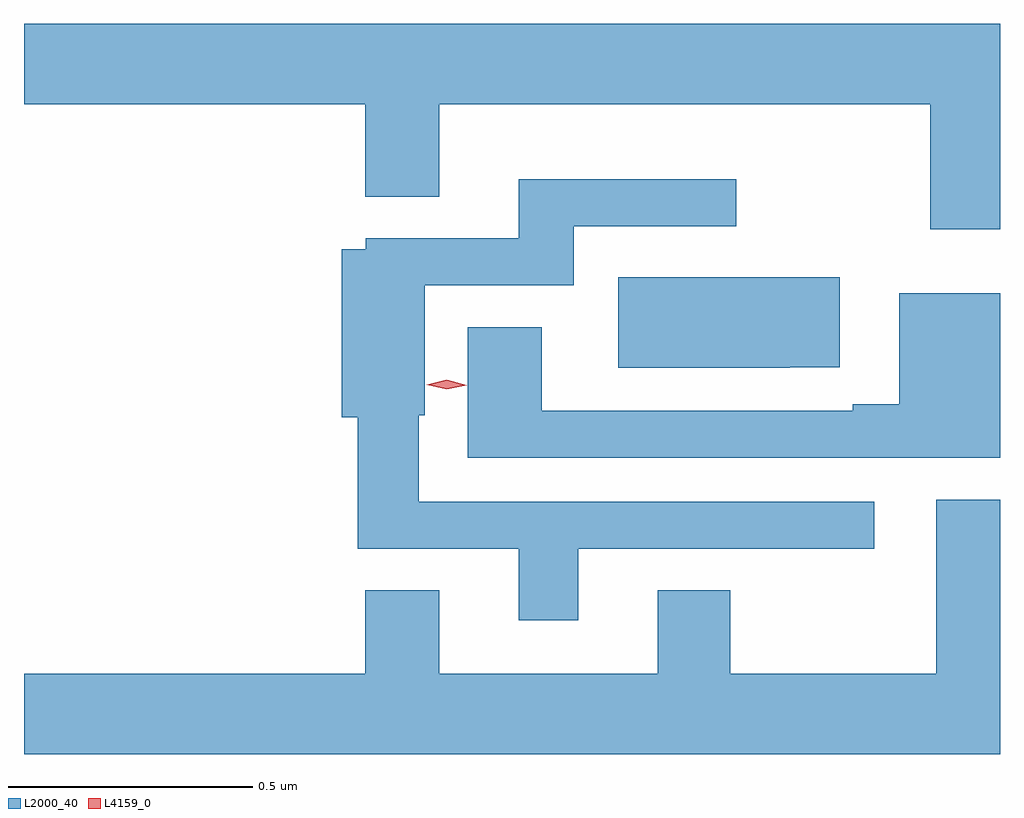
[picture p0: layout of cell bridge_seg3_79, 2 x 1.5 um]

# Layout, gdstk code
import gdstk
lib = gdstk.Library(unit=1e-6, precision=1e-09)
def P(c, l, *ps):  # polygons
    for p in ps: c.add(gdstk.Polygon(p, *l))
L2000_40 = (2000, 40)
L4159_0 = (4159, 0)

bridge_seg3_79 = lib.new_cell('bridge_seg3_79')
P(bridge_seg3_79, L2000_40, [(473.818,691.756),(471.818,691.756),(471.818,691.592),(472.517,691.592),(472.517,691.402),(472.669,691.402),(472.669,691.592),(473.675,691.592),(473.675,691.335),(473.818,691.335)],
  [(472.954,690.681),(473.56,690.681),(473.56,690.777),(472.627,690.777),(472.627,690.954),(472.639,690.954),(472.639,691.221),(472.945,691.221),(472.945,691.341),(473.278,691.341),(473.278,691.438),(472.832,691.438),(472.832,691.317),(472.518,691.317),(472.518,691.294),(472.469,691.294),(472.469,690.95),(472.502,690.95),(472.502,690.681),(472.832,690.681),(472.832,690.534),(472.954,690.534)],
  [(473.387,691.053),(473.49,691.053),(473.49,691.237),(473.036,691.237),(473.036,691.052),(473.387,691.052)],
  [(473.818,691.204),(473.612,691.204),(473.612,690.977),(473.516,690.977),(473.516,690.963),(472.879,690.963),(472.879,691.135),(472.727,691.135),(472.727,690.867),(473.818,690.867)],
  [(473.818,690.781),(473.687,690.781),(473.687,690.424),(473.265,690.424),(473.265,690.596),(473.117,690.596),(473.117,690.424),(472.669,690.424),(472.669,690.596),(472.517,690.596),(472.517,690.424),(471.818,690.424),(471.818,690.26),(473.818,690.26)])
P(bridge_seg3_79, L4159_0, [(472.684,691.007),(472.643,691.017),(472.643,691.017),(472.643,691.017),(472.684,691.027),(472.725,691.016),(472.725,691.016),(472.725,691.016)])

lib.write_gds('bridge_seg3_79.gds')
